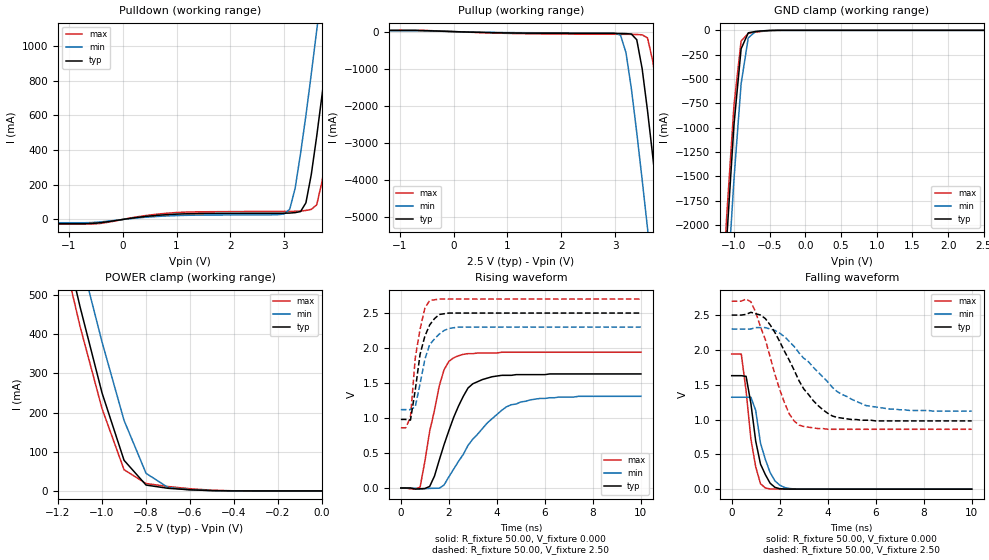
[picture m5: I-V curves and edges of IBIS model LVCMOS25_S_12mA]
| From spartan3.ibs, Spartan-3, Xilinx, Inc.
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|   Model LVCMOS25_S_12mA
[Model]   LVCMOS25_S_12mA
Model_type   I/O
Polarity   Non-Inverting
Enable   Active-Low
Vinl =   0.70V
Vinh =   1.70V
Vmeas =   1.25V
Cref =  0pF
Rref =   1.00M
Vref =  0.000V
C_comp   6.38pF   4.60pF   8.23pF
[Temperature Range]   25.00   85.00   0.000
[Voltage Range]   2.50V   2.30V   2.70V
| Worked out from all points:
|   slope of the pulldown table from 0 to 0.375 V, typ, clamps not added: 23.9 ohm
|   slope of the pullup table from 0 to 0.375 V, typ, clamps not added: 22.9 ohm
|   GND clamp passes 1 mA (typ) near -0.47 V on its own axis
|   POWER clamp passes 1 mA (typ) near -0.52 V on its own axis
|   rising waveform, R_fixture 50.00, V_fixture 0.000: 20-80 % time 1.06ns typ, 1.81ns min, 676ps max; typ from 0 V to 1.63 V
|   rising waveform, R_fixture 50.00, V_fixture 2.50: 20-80 % time 486ps typ, 516ps min, 390ps max; typ from 0.98 V to 2.5 V
|   falling waveform, R_fixture 50.00, V_fixture 0.000: 20-80 % time 483ps typ, 543ps min, 420ps max; typ from 1.63 V to 0 V
|   falling waveform, R_fixture 50.00, V_fixture 2.50: 20-80 % time 1.49ns typ, 2.07ns min, 1.02ns max; typ from 2.5 V to 0.98 V
[Pulldown]
| voltage   I(typ)   I(min)   I(max)
-2.5V     -23.92mA   -18.84mA   -26.83mA
3V        36.15mA    32.05mA    46.7mA
3.1V      36.98mA    59.66mA    46.84mA
3.2V      39.46mA    180mA      47.18mA
3.4V      96.04mA    600mA      52.19mA
3.5V      260mA      840mA      58.25mA
3.6V      480mA      1.09A      84.51mA
3.7V      720mA      1.34A      220mA
3.8V      960mA      1.59A      430mA
4V        1.46A      2.1A       910mA
4.2V      1.98A      2.61A      1.42A
5V        4.06A      4.7A       3.49A
[Pullup]
| voltage   I(typ)   I(min)   I(max)
-2.5V     30.99mA    24.1mA     35.73mA
3.1V      -50.54mA   -100mA     -72.23mA
3.2V      -54.36mA   -570mA     -72.76mA
3.3V      -65.44mA   -1.54A     -74.06mA
3.4V      -220mA     -2.73A     -78.36mA
3.5V      -1A        -4A        -87.25mA
3.6V      -2.14A     -5.32A     -170mA
3.7V      -3.41A     -6.67A     -820mA
3.8V      -4.73A     -8.03A     -1.93A
4V        -7.46A     -10.8A     -4.5A
4.2V      -10.23A    -13.59A    -7.23A
5V        -21.55A    -24.92A    -18.5A
[GND_clamp]
| voltage   I(typ)   I(min)   I(max)
-2.5V     -21.55A    -22.07A    -21.35A
-1.2V     -3.4A      -4A        -3.16A
-1.1V     -2.13A     -2.72A     -1.89A
-1V       -970mA     -1.53A     -770mA
-900mV    -190mA     -550mA     -110mA
-800mV    -25.45mA   -77.64mA   -31.56mA
-700mV    -12.2mA    -13.18mA   -19.49mA
-500mV    -1.42mA    -1.59mA    -3.55mA
2.5V      750pA      1.06uA     1.36nA
[POWER_clamp]
| voltage   I(typ)   I(min)   I(max)
-2.5V     4.06A      4.18A      4.02A
-1.2V     710mA      840mA      660mA
-1.1V     470mA      600mA      420mA
-1V       250mA      380mA      210mA
-900mV    78.2mA     180mA      54.13mA
-800mV    14.96mA    44.93mA    18.92mA
-700mV    6.69mA     8.78mA     11.2mA
-600mV    2.8mA      2.96mA     5.54mA
-400mV    81.59uA    140uA      290uA
0V        750pA      5.02nA     2.14nA
[Ramp]
| variable   typ   min   max
dV/dt_r   0.98/1.05n   0.79/1.81n   1.16/0.61n
dV/dt_f   0.91/1.49n   0.71/2.11n   1.11/0.96n
R_load = 50.00
[Rising Waveform]
R_fixture = 50.00
V_fixture = 0.000
| time   V(typ)   V(min)   V(max)
0s        0V         0V         0V
800ps     -10.64mV   -16.68mV   11.46mV
1.2ns     22.27mV    -5.55mV    810mV
1.6ns     400mV      -3.2mV     1.46V
1.8ns     620mV      43.46mV    1.69V
2.2ns     1.01V      270mV      1.86V
3ns       1.49V      700mV      1.92V
4.6ns     1.61V      1.19V      1.94V
6.6ns     1.63V      1.3V       1.94V
10ns      1.63V      1.31V      1.94V
[Rising Waveform]
R_fixture = 50.00
V_fixture = 2.50
V_fixture_min = 2.30
V_fixture_max = 2.70
| time   V(typ)   V(min)   V(max)
0s        980mV      1.12V      860mV
200ps     980mV      1.12V      860mV
400ps     970mV      1.12V      1.01V
600ps     1.4V       1.16V      1.86V
800ps     1.91V      1.49V      2.27V
1ns       2.17V      1.84V      2.57V
1.2ns     2.33V      2.05V      2.68V
1.6ns     2.48V      2.2V       2.7V
2.4ns     2.5V       2.3V       2.7V
10ns      2.5V       2.3V       2.7V
[Falling Waveform]
R_fixture = 50.00
V_fixture = 0.000
| time   V(typ)   V(min)   V(max)
0s        1.63V      1.32V      1.94V
400ps     1.63V      1.32V      1.94V
600ps     1.62V      1.32V      1.41V
800ps     1.23V      1.32V      720mV
1ns       690mV      1.13V      320mV
1.2ns     360mV      660mV      78.16mV
1.4ns     210mV      430mV      18.06mV
1.8ns     26.06mV    120mV      1.2mV
2.4ns     1.31mV     9.49mV     630uV
10ns      0V         3.05uV     0V
[Falling Waveform]
R_fixture = 50.00
V_fixture = 2.50
V_fixture_min = 2.30
V_fixture_max = 2.70
| time   V(typ)   V(min)   V(max)
0s        2.5V       2.3V       2.7V
800ps     2.54V      2.3V       2.69V
1.6ns     2.36V      2.3V       1.9V
2.2ns     1.98V      2.19V      1.24V
2.8ns     1.56V      1.96V      920mV
3.4ns     1.27V      1.75V      880mV
4ns       1.09V      1.54V      860mV
4.4ns     1.03V      1.4V       860mV
5.6ns     990mV      1.2V       860mV
10ns      980mV      1.12V      860mV
